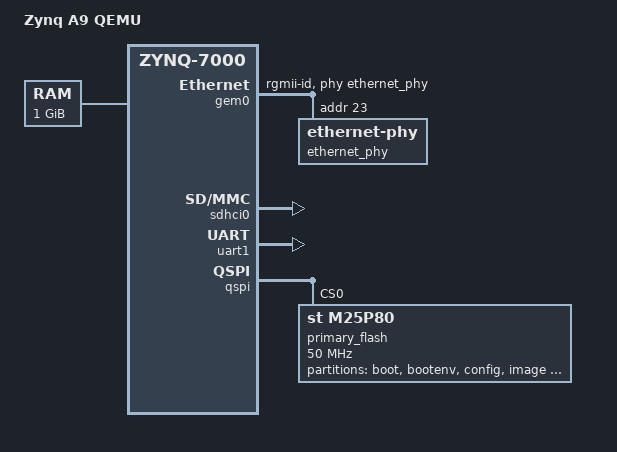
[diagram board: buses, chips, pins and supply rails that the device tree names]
/dts-v1/;
/include/ "zynq-7000.dtsi"
/include/ "zynq-7000-qspi-dummy.dtsi"

/ {
	model = "Zynq A9 QEMU";
	compatible = "qemu,xilinx-zynq-a9", "xlnx,zynq-7000";

	aliases {
		ethernet0 = &gem0;
		serial0 = &uart1;
	};

	memory {
		device_type = "memory";
		reg = <0x0 0x40000000>;
	};

	chosen {
		bootargs = "earlyprintk";
		stdout-path = "serial0:115200n8";
	};
};

&amba {
	/* Setup a fixed 25 MHz clock (100Mbps) to trick the ethernet driver */
	fixednetclk: clock {
		#clock-cells = <0>;
		compatible = "fixed-clock";
		clock-frequency = <25000000>;
	};
};

&gem0 {
	status = "okay";
	clocks = <&clkc 30>, <&clkc 30>, <&fixednetclk>, <&fixednetclk>, <&clkc 30>;
	phy-mode = "rgmii-id";
	phy-handle = <&ethernet_phy>;

	ethernet_phy: ethernet-phy@23 {
		device_type = "ethernet-phy";
		reg = <23>;
	};
};

&sdhci0 {
	status = "okay";
};

&uart1 {
	status = "okay";
};

&qspi {
	status = "okay";
	is-dual = <1>;
	primary_flash: ps7-qspi@0 {
		#address-cells = <1>;
		#size-cells = <1>;
		compatible = "st,m25p80";
		reg = <0x0>;
		spi-max-frequency = <50000000>;
		partition@0x00000000 {
			label = "boot";
			reg = <0x00000000 0x00500000>;
		};
		partition@0x00500000 {
			label = "bootenv";
			reg = <0x00500000 0x00020000>;
		};
		partition@0x00520000 {
			label = "config";
			reg = <0x00520000 0x00020000>;
		};
		partition@0x00540000 {
			label = "image";
			reg = <0x00540000 0x00a80000>;
		};
		partition@0x00fc0000 {
			label = "spare";
			reg = <0x00fc0000 0x00000000>;
		};
	};
};

